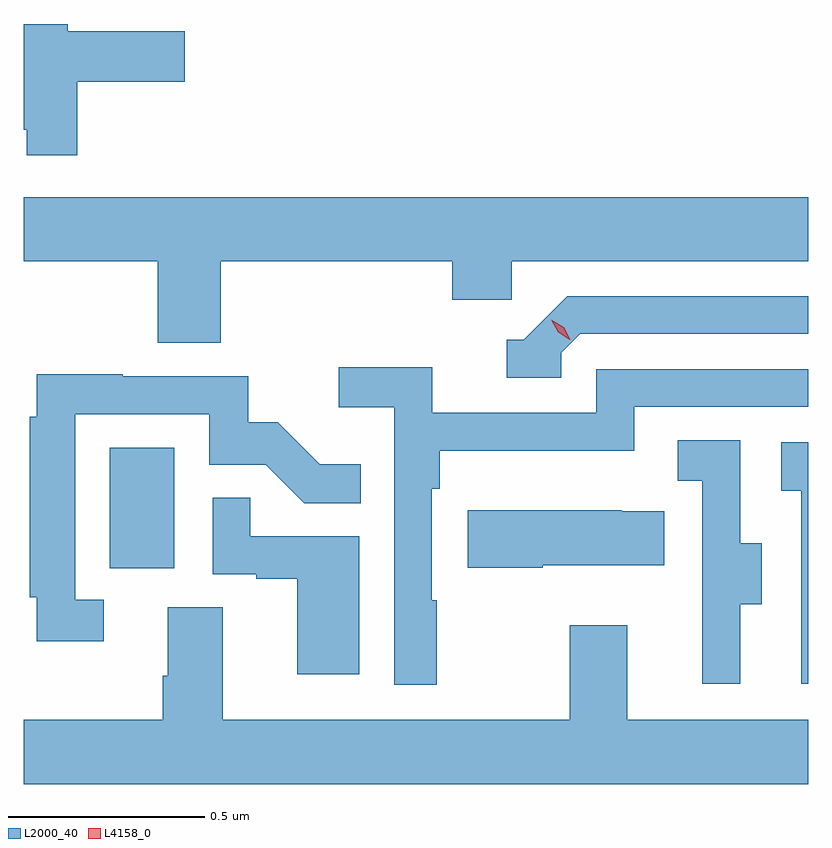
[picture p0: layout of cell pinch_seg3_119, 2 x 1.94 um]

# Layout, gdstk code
import gdstk
lib = gdstk.Library(unit=1e-6, precision=1e-09)
def R(c, l, rs):  # rectangles x0, y0, x1, y1
    for r in rs: c.add(gdstk.rectangle(r[:2], r[2:], *l))
def P(c, l, *ps):  # polygons
    for p in ps: c.add(gdstk.Polygon(p, *l))
L2000_40 = (2000, 40)
L4158_0 = (4158, 0)

pinch_seg3_119 = lib.new_cell('pinch_seg3_119')
R(pinch_seg3_119, L2000_40, [(1040.666,710.79,1040.83,711.097)])
P(pinch_seg3_119, L2000_40, [(1040.582,712.03),(1040.857,712.03),(1040.857,712.159),(1040.559,712.159),(1040.559,712.177),(1040.446,712.177),(1040.446,711.908),(1040.454,711.908),(1040.454,711.843),(1040.582,711.843)],
  [(1040.948,711.572),(1041.539,711.572),(1041.539,711.474),(1041.69,711.474),(1041.69,711.572),(1042.446,711.572),(1042.446,711.736),(1040.446,711.736),(1040.446,711.572),(1040.788,711.572),(1040.788,711.364),(1040.948,711.364)],
  [(1041.816,711.339),(1041.864,711.387),(1042.446,711.387),(1042.446,711.483),(1041.831,711.483),(1041.72,711.372),(1041.677,711.372),(1041.677,711.276),(1041.816,711.276)],
  [(1041.499,710.708),(1041.486,710.708),(1041.486,710.993),(1041.506,710.993),(1041.506,711.089),(1042.002,711.089),(1042.002,711.201),(1042.446,711.201),(1042.446,711.297),(1041.906,711.297),(1041.906,711.186),(1041.488,711.186),(1041.488,711.302),(1041.249,711.302),(1041.249,711.2),(1041.39,711.2),(1041.39,710.493),(1041.499,710.493)],
  [(1040.65,710.709),(1040.577,710.709),(1040.577,711.183),(1040.919,711.183),(1040.919,711.054),(1041.063,711.054),(1041.161,710.956),(1041.305,710.956),(1041.305,711.055),(1041.201,711.055),(1041.094,711.162),(1041.018,711.162),(1041.018,711.279),(1040.699,711.279),(1040.699,711.284),(1040.48,711.284),(1040.48,711.176),(1040.461,711.176),(1040.461,710.716),(1040.48,710.716),(1040.48,710.604),(1040.65,710.604)],
  [(1042.273,710.698),(1042.327,710.698),(1042.327,710.853),(1042.272,710.853),(1042.272,711.116),(1042.113,711.116),(1042.113,711.013),(1042.176,711.013),(1042.176,710.709),(1042.175,710.709),(1042.175,710.496),(1042.273,710.496)],
  [(1042.446,711.111),(1042.377,711.111),(1042.377,710.987),(1042.428,710.987),(1042.428,710.496),(1042.446,710.496)],
  [(1041.301,710.871),(1041.023,710.871),(1041.023,710.969),(1040.928,710.969),(1040.928,710.775),(1041.039,710.775),(1041.039,710.763),(1041.143,710.763),(1041.143,710.52),(1041.301,710.52)],
  [(1041.769,710.798),(1042.079,710.798),(1042.079,710.935),(1041.971,710.935),(1041.971,710.938),(1041.578,710.938),(1041.578,710.791),(1041.769,710.791)],
  [(1042.446,710.404),(1041.985,710.404),(1041.985,710.644),(1041.838,710.644),(1041.838,710.404),(1040.953,710.404),(1040.953,710.69),(1040.813,710.69),(1040.813,710.516),(1040.801,710.516),(1040.801,710.404),(1040.446,710.404),(1040.446,710.24),(1042.446,710.24)])
P(pinch_seg3_119, L4158_0, [(1041.838,711.372),(1041.808,711.391),(1041.791,711.423),(1041.791,711.423),(1041.791,711.423),(1041.822,711.404),(1041.839,711.372),(1041.839,711.372)])

lib.write_gds('pinch_seg3_119.gds')
